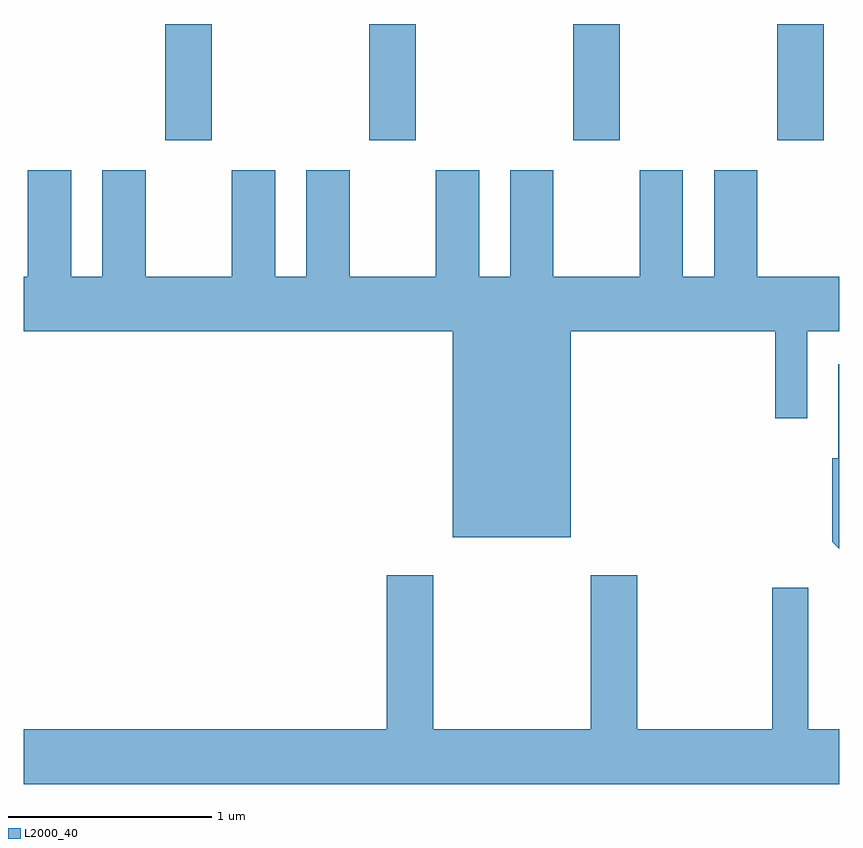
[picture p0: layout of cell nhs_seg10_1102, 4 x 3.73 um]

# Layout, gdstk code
import gdstk
lib = gdstk.Library(unit=1e-6, precision=1e-09)
def R(c, l, rs):  # rectangles x0, y0, x1, y1
    for r in rs: c.add(gdstk.rectangle(r[:2], r[2:], *l))
def A(c, l, x, y, w, h, nx, ny, dx, dy):  # array of equal rectangles
    R(c, l, [(x+i*dx, y+j*dy, x+i*dx+w, y+j*dy+h) for i in range(nx) for j in range(ny)])
def P(c, l, *ps):  # polygons
    for p in ps: c.add(gdstk.Polygon(p, *l))
L2000_40 = (2000, 40)

nhs_seg10_1102 = lib.new_cell('nhs_seg10_1102')
A(nhs_seg10_1102, L2000_40, 218.306, 2125.951, 0.228, 0.571, 4, 1, 1, 0)
P(nhs_seg10_1102, L2000_40, [(220.294,2125.016),(221.296,2125.016),(221.296,2124.588),(221.454,2124.588),(221.454,2125.016),(221.611,2125.016),(221.611,2125.284),(221.209,2125.284),(221.209,2125.804),(220.996,2125.804),(220.996,2125.284),(220.844,2125.284),(220.844,2125.804),(220.631,2125.804),(220.631,2125.284),(220.209,2125.284),(220.209,2125.804),(219.996,2125.804),(219.996,2125.284),(219.844,2125.284),(219.844,2125.804),(219.631,2125.804),(219.631,2125.284),(219.209,2125.284),(219.209,2125.804),(218.996,2125.804),(218.996,2125.284),(218.844,2125.284),(218.844,2125.804),(218.631,2125.804),(218.631,2125.284),(218.209,2125.284),(218.209,2125.804),(217.996,2125.804),(217.996,2125.284),(217.844,2125.284),(217.844,2125.804),(217.631,2125.804),(217.631,2125.284),(217.611,2125.284),(217.611,2125.016),(219.716,2125.016),(219.716,2124.006),(220.294,2124.006)],
  [(221.611,2124.854),(221.606,2124.854),(221.606,2124.394),(221.576,2124.394),(221.576,2123.984),(221.611,2123.949)],
  [(221.611,2123.064),(221.459,2123.064),(221.459,2123.759),(221.281,2123.759),(221.281,2123.064),(220.619,2123.064),(220.619,2123.819),(220.391,2123.819),(220.391,2123.064),(219.619,2123.064),(219.619,2123.819),(219.391,2123.819),(219.391,2123.064),(217.611,2123.064),(217.611,2122.796),(221.611,2122.796)])

lib.write_gds('nhs_seg10_1102.gds')
